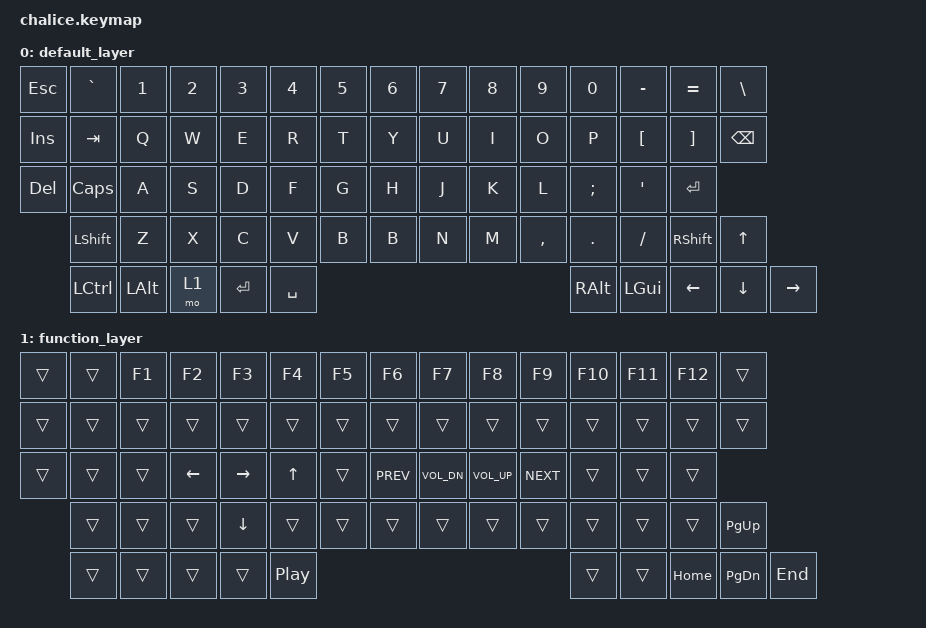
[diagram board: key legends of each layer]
/*
 * Copyright (c) 2021 The ZMK Contributors
 *
 * SPDX-License-Identifier: MIT
 */

#include <behaviors.dtsi>
#include <dt-bindings/zmk/keys.h>
#include <dt-bindings/zmk/bt.h>
#include <dt-bindings/zmk/rgb.h>
#include <dt-bindings/zmk/outputs.h>

/ {
        keymap {
                compatible = "zmk,keymap";

                default_layer {

                        bindings = <
   &kp ESC         &kp GRAVE    &kp N1       &kp N2       &kp N3           &kp N4       &kp N5       &kp N6       &kp N7          &kp N8           &kp N9       &kp N0       &kp MINUS    &kp EQUAL    &kp BSLH
   &kp INSERT      &kp TAB      &kp Q        &kp W        &kp E            &kp R        &kp T        &kp Y        &kp U           &kp I            &kp O        &kp P        &kp LBKT     &kp RBKT     &kp BSPC     
   &kp DELETE      &kp CAPS     &kp A        &kp S        &kp D            &kp F        &kp G        &kp H        &kp J           &kp K            &kp L        &kp SEMI     &kp SQT      &kp ENTER                 
                   &kp LSHFT    &kp Z        &kp X        &kp C            &kp V        &kp B        &kp B        &kp N           &kp M            &kp COMMA    &kp DOT      &kp SLASH    &kp RSHFT    &kp UP       
                   &kp LCTRL                 &kp LALT                      &mo 1        &kp ENTER                 &kp SPACE                        &kp RALT                  &kp LGUI     &kp LEFT     &kp DOWN     &kp RIGHT
                                >;
                        };

                function_layer {

                        bindings = <
   &trans          &trans       &kp F1        &kp F2       &kp F3          &kp F4       &kp F5       &kp F6       &kp F7         &kp F8          &kp F9       &kp F10      &kp F11      &kp F12      &trans
   &trans          &trans       &trans        &trans       &trans          &trans       &trans       &trans       &trans         &trans          &trans       &trans       &trans       &trans       &trans
   &trans          &trans       &trans        &kp LEFT     &kp RIGHT       &kp UP       &trans       &kp C_PREV   &kp C_VOL_DN   &kp C_VOL_UP    &kp C_NEXT   &trans       &trans       &trans 
                   &trans       &trans        &trans       &kp DOWN        &trans       &trans       &trans       &trans         &trans          &trans       &trans       &trans       &trans       &kp PG_UP
                   &trans                     &trans                       &trans       &trans                    &kp C_PP                       &trans                    &trans       &kp HOME     &kp PG_DN    &kp END 
                                >;
                        };
        };
};
